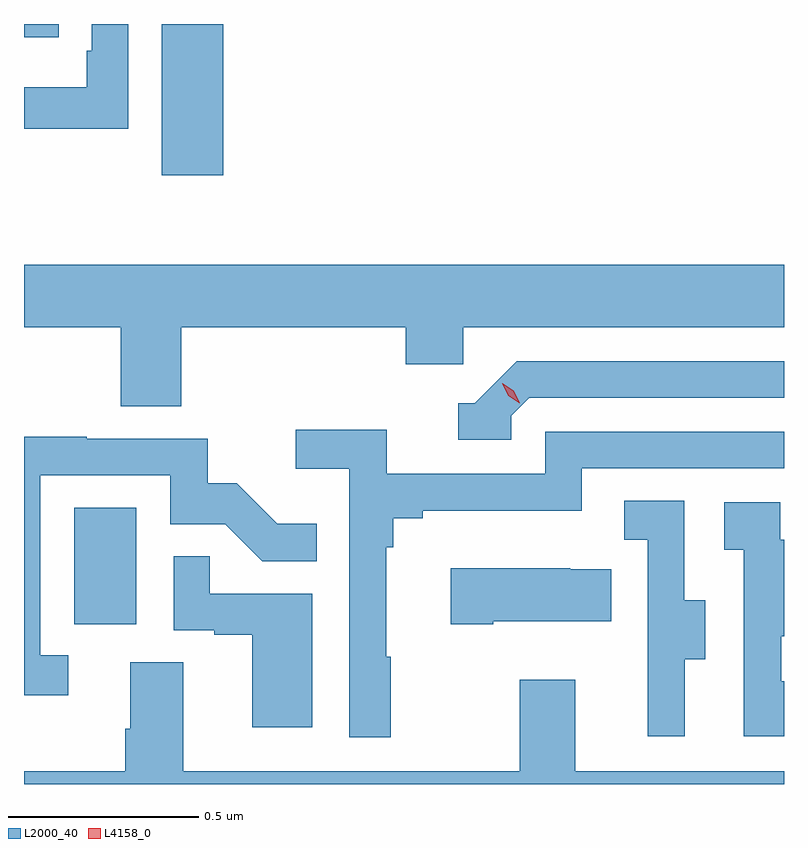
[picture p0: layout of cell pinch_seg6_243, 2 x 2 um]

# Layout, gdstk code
import gdstk
lib = gdstk.Library(unit=1e-6, precision=1e-09)
def R(c, l, rs):  # rectangles x0, y0, x1, y1
    for r in rs: c.add(gdstk.rectangle(r[:2], r[2:], *l))
def P(c, l, *ps):  # polygons
    for p in ps: c.add(gdstk.Polygon(p, *l))
L2000_40 = (2000, 40)
L4158_0 = (4158, 0)

pinch_seg6_243 = lib.new_cell('pinch_seg6_243')
R(pinch_seg6_243, L2000_40, [(1089.284,929.238,1089.448,929.545), (1089.515,930.42,1089.676,930.818), (1089.152,930.783,1089.244,930.818)])
P(pinch_seg6_243, L2000_40, [(1089.426,930.818),(1089.33,930.818),(1089.33,930.748),(1089.317,930.748),(1089.317,930.652),(1089.152,930.652),(1089.152,930.543),(1089.426,930.543)],
  [(1089.566,930.02),(1090.157,930.02),(1090.157,929.922),(1090.308,929.922),(1090.308,930.02),(1091.152,930.02),(1091.152,930.184),(1089.152,930.184),(1089.152,930.02),(1089.406,930.02),(1089.406,929.812),(1089.566,929.812)],
  [(1090.434,929.787),(1090.482,929.835),(1091.152,929.835),(1091.152,929.931),(1090.449,929.931),(1090.338,929.82),(1090.295,929.82),(1090.295,929.724),(1090.434,929.724)],
  [(1090.117,929.153),(1090.105,929.153),(1090.105,929.441),(1090.124,929.441),(1090.124,929.518),(1090.201,929.518),(1090.201,929.537),(1090.62,929.537),(1090.62,929.649),(1091.152,929.649),(1091.152,929.745),(1090.524,929.745),(1090.524,929.634),(1090.106,929.634),(1090.106,929.75),(1089.867,929.75),(1089.867,929.648),(1090.008,929.648),(1090.008,928.941),(1090.117,928.941)],
  [(1089.268,929.157),(1089.195,929.157),(1089.195,929.631),(1089.537,929.631),(1089.537,929.502),(1089.681,929.502),(1089.779,929.404),(1089.923,929.404),(1089.923,929.503),(1089.819,929.503),(1089.712,929.61),(1089.636,929.61),(1089.636,929.727),(1089.317,929.727),(1089.317,929.732),(1089.152,929.732),(1089.152,929.052),(1089.268,929.052)],
  [(1090.891,929.146),(1090.945,929.146),(1090.945,929.301),(1090.89,929.301),(1090.89,929.564),(1090.731,929.564),(1090.731,929.461),(1090.794,929.461),(1090.794,929.157),(1090.793,929.157),(1090.793,928.944),(1090.891,928.944)],
  [(1091.152,929.088),(1091.145,929.088),(1091.145,929.207),(1091.152,929.207),(1091.152,929.461),(1091.142,929.461),(1091.142,929.559),(1090.995,929.559),(1090.995,929.435),(1091.046,929.435),(1091.046,928.944),(1091.152,928.944)],
  [(1089.91,929.319),(1089.641,929.319),(1089.641,929.417),(1089.546,929.417),(1089.546,929.223),(1089.653,929.223),(1089.653,929.211),(1089.752,929.211),(1089.752,928.968),(1089.91,928.968)],
  [(1090.387,929.246),(1090.697,929.246),(1090.697,929.383),(1090.589,929.383),(1090.589,929.386),(1090.275,929.386),(1090.275,929.239),(1090.387,929.239)],
  [(1091.152,928.852),(1090.603,928.852),(1090.603,929.092),(1090.456,929.092),(1090.456,928.852),(1089.571,928.852),(1089.571,929.138),(1089.431,929.138),(1089.431,928.964),(1089.419,928.964),(1089.419,928.852),(1089.152,928.852),(1089.152,928.818),(1091.152,928.818)])
P(pinch_seg6_243, L4158_0, [(1090.457,929.82),(1090.426,929.84),(1090.41,929.873),(1090.41,929.873),(1090.411,929.873),(1090.441,929.853),(1090.457,929.82),(1090.457,929.82)])

lib.write_gds('pinch_seg6_243.gds')
